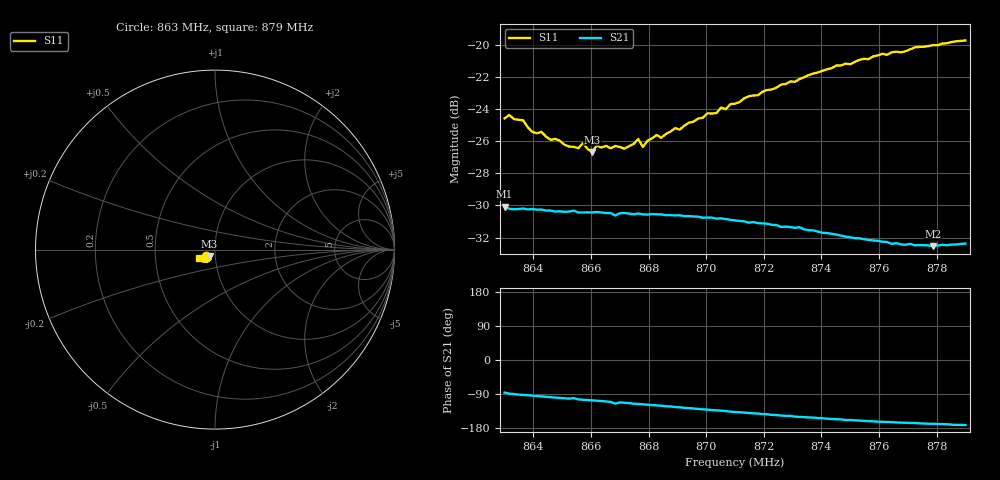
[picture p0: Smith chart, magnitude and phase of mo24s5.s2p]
# HZ S RI R 50
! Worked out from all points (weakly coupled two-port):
!   101 points, 863 MHz to 879 MHz, reference 50 ohm
!   highest |S21| = -30.08 dB at 863 MHz (marker M1); lowest = -32.5 dB at 877.88 MHz (marker M2)
!   lowest |S11| = -26.7 dB at 866.04 MHz (marker M3), VSWR 1.10, Z = 46.9 - j3.3 ohm
!   |S11| at or under -10 dB: start of sweep to end of sweep
!   S12 and S22 are empty: the file has one direction only
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8.63e8  -0.0482 -0.0341  0.00223 -0.0312  0 0  0 0
8.6316e8  -0.0496 -0.0346  0.000588 -0.0309  0 0  0 0
8.6364e8  -0.0479 -0.0332  -0.00115 -0.0309  0 0  0 0
8.6396e8  -0.043 -0.032  -0.00219 -0.0307  0 0  0 0
8.6428e8  -0.0415 -0.0339  -0.00322 -0.0305  0 0  0 0
8.6524e8  -0.0355 -0.0326  -0.00629 -0.0296  0 0  0 0
8.6556e8  -0.0342 -0.0332  -0.00722 -0.0292  0 0  0 0
8.6572e8  -0.0336 -0.0363  -0.00772 -0.029  0 0  0 0
8.6604e8  -0.0304 -0.0351  -0.00861 -0.0288  0 0  0 0
8.662e8  -0.0328 -0.0359  -0.00899 -0.0288  0 0  0 0
8.6716e8  -0.0276 -0.0387  -0.0116 -0.0276  0 0  0 0
8.6764e8  -0.028 -0.0425  -0.0131 -0.0268  0 0  0 0
8.678e8  -0.0253 -0.0409  -0.0134 -0.0265  0 0  0 0
8.6828e8  -0.0259 -0.0456  -0.0147 -0.0258  0 0  0 0
8.6844e8  -0.0248 -0.045  -0.0151 -0.0255  0 0  0 0
8.6892e8  -0.0256 -0.0487  -0.0165 -0.0244  0 0  0 0
8.6908e8  -0.0258 -0.048  -0.0168 -0.0242  0 0  0 0
8.71e8  -0.03 -0.0584  -0.0208 -0.0193  0 0  0 0
8.7372e8  -0.0453 -0.0677  -0.0233 -0.0124  0 0  0 0
8.7644e8  -0.0703 -0.0637  -0.0231 -0.00664  0 0  0 0
8.7788e8  -0.083 -0.0557  -0.0231 -0.00486  0 0  0 0
8.79e8  -0.0912 -0.0485  -0.0238 -0.0035  0 0  0 0
